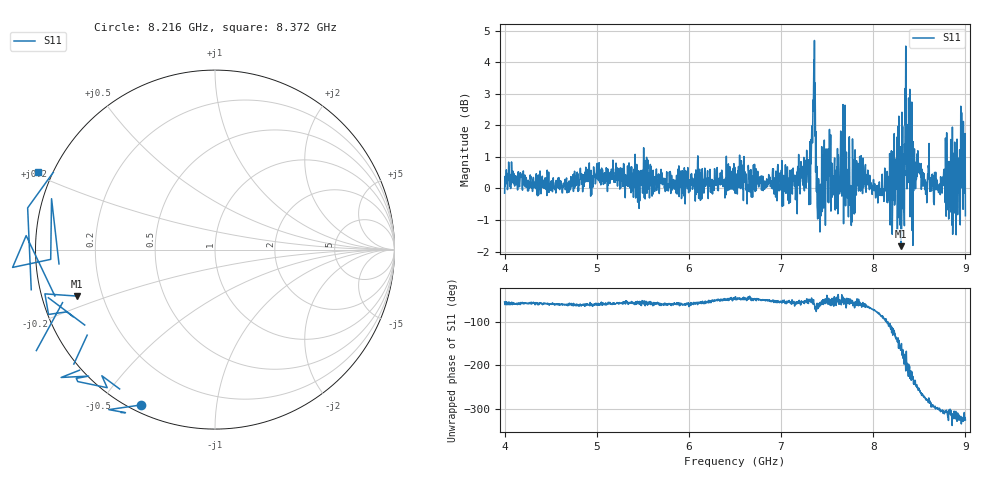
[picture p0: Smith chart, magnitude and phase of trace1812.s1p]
! Created with skrf 1.8.0 (http://scikit-rf.org).
# Hz S RI R 50.0
!freq ReS11 ImS11
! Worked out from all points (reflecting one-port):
!   1601 points, 4 GHz to 9 GHz, reference 50 ohm
!   lowest |S11| = -1.8 dB at 8.3 GHz (marker M1), VSWR 9.52, Z = 5.39 - j8.12 ohm
!   phase of S11 starts at -54 deg and turns -271 deg over the sweep
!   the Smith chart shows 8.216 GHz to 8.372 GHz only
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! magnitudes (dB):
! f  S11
! 4 GHz  -0.2
! 4.625 GHz  -0.1
! 5.25 GHz  0.0
! 5.875 GHz  0.2
! 6.5 GHz  0.1
! 7.125 GHz  0.4
! 7.294 GHz  0.4
! 7.319 GHz  -0.5
! 7.356 GHz  4.1
! 7.412 GHz  -0.9
! 7.512 GHz  1.3
! 7.609 GHz  0.1
! 7.669 GHz  0.9
! 7.75 GHz  -0.3
! 7.775 GHz  1.6
! 7.844 GHz  0.4
! 8.191 GHz  -0.4
! 8.259 GHz  1.6
! 8.3 GHz  -1.8
! 8.312 GHz  2.4
! 8.328 GHz  1.1
! 8.375 GHz  1.8
! 8.447 GHz  1.3
! 8.459 GHz  0.0
! 8.638 GHz  0.2
! 8.844 GHz  -0.8
! 8.972 GHz  0.7
! 9 GHz  -0.9
